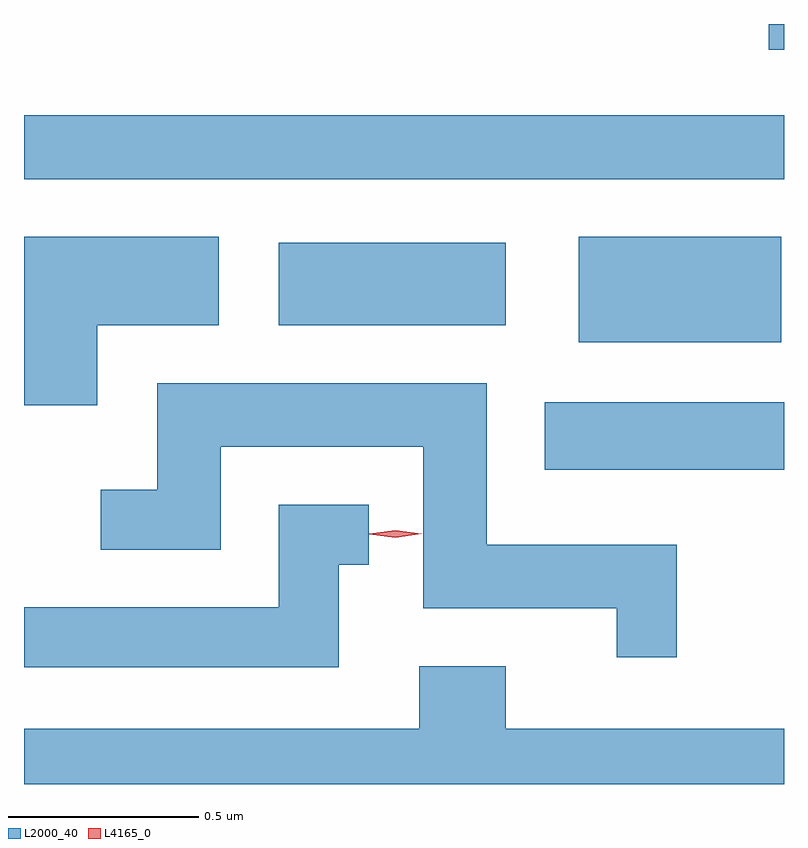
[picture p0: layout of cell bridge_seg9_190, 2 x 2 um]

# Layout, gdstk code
import gdstk
lib = gdstk.Library(unit=1e-6, precision=1e-09)
def R(c, l, rs):  # rectangles x0, y0, x1, y1
    for r in rs: c.add(gdstk.rectangle(r[:2], r[2:], *l))
def P(c, l, *ps):  # polygons
    for p in ps: c.add(gdstk.Polygon(p, *l))
L2000_40 = (2000, 40)
L4165_0 = (4165, 0)

bridge_seg9_190 = lib.new_cell('bridge_seg9_190')
R(bridge_seg9_190, L2000_40, [(1110.301,2079.346,1110.931,2079.524), (1110.391,2079.681,1110.924,2079.959), (1109.601,2079.726,1110.199,2079.944), (1108.931,2080.111,1110.931,2080.279), (1110.891,2080.451,1110.931,2080.519)])
P(bridge_seg9_190, L2000_40, [(1109.124,2079.726),(1109.444,2079.726),(1109.444,2079.959),(1108.931,2079.959),(1108.931,2079.516),(1109.124,2079.516)],
  [(1110.649,2079.149),(1110.149,2079.149),(1110.149,2079.574),(1109.281,2079.574),(1109.281,2079.294),(1109.133,2079.294),(1109.133,2079.136),(1109.449,2079.136),(1109.449,2079.406),(1109.981,2079.406),(1109.981,2078.981),(1110.491,2078.981),(1110.491,2078.853),(1110.649,2078.853)],
  [(1109.759,2079.096),(1109.838,2079.096),(1109.838,2079.254),(1109.601,2079.254),(1109.601,2078.984),(1108.931,2078.984),(1108.931,2078.826),(1109.759,2078.826)],
  [(1110.931,2078.664),(1110.199,2078.664),(1110.199,2078.829),(1109.971,2078.829),(1109.971,2078.664),(1108.931,2078.664),(1108.931,2078.519),(1110.931,2078.519)])
P(bridge_seg9_190, L4165_0, [(1109.908,2079.167),(1109.839,2079.176),(1109.839,2079.177),(1109.839,2079.177),(1109.908,2079.187),(1109.978,2079.178),(1109.978,2079.178),(1109.978,2079.177)])

lib.write_gds('bridge_seg9_190.gds')
